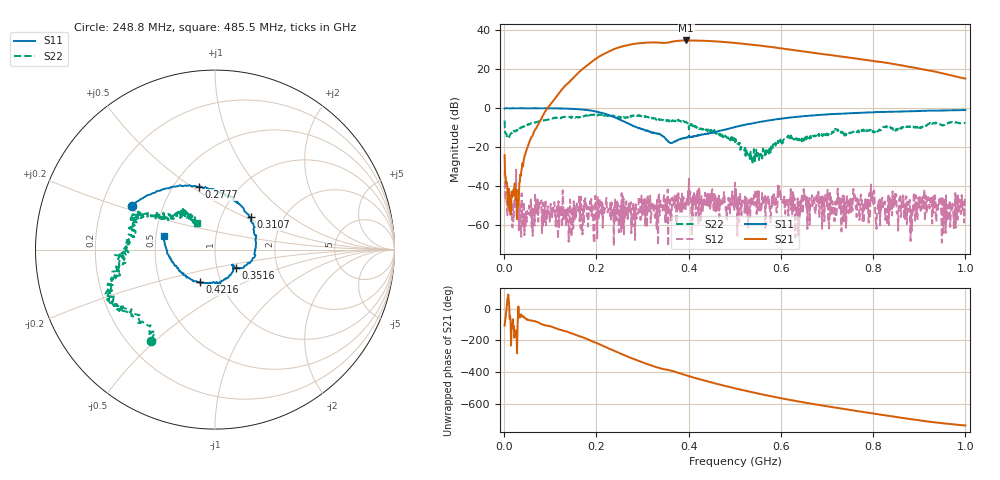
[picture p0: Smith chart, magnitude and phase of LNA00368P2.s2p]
! Created with skrf 1.9.0 (http://scikit-rf.org).
# Hz S RI R 50.0
!freq ReS11 ImS11 ReS21 ImS21 ReS12 ImS12 ReS22 ImS22
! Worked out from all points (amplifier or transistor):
!   1001 points, 1 MHz to 1 GHz, reference 50 ohm
!   highest |S21| = 34.8 dB at 394.6 MHz (marker M1)
!   |S21| within 3 dB of that: 256.9 MHz to 566.1 MHz (309.2 MHz wide, 75.1 % of centre)
!   unconditionally stable (mu >= 1): 26.57 MHz to 72.29 MHz; 230.8 MHz to 400.3 MHz; 400.9 MHz to end of sweep (the widest 3 of 33)
!   at 166.8 MHz: K = 0.27, MSG = 32.4 dB, |S12| = -45.4 dB
!   at 500.5 MHz: K = 1.05, MAG = 34.5 dB, |S12| = -38.1 dB
!   at 1 GHz: K = 2.46, MAG = 24.0 dB, |S12| = -46.3 dB
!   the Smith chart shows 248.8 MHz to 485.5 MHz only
!   S11 on the Smith chart (normalised r, x): 248.8 MHz: 0.33, +0.22; 277.7 MHz: 0.66, +0.53; 310.7 MHz: 1.38, +0.54; 351.6 MHz: 1.24, -0.25; 421.6 MHz: 0.80, -0.30; 485.5 MHz: 0.55, +0.09
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1000000  0.9855 0.00248  -0.017 -0.0602  -0.0244 -0.00395  0.3211 0.3607
1.08892e8  0.5096 -0.8551  -0.815 -1.479  -0.00295 -0.0026  0.4096 -0.3774
1.67833e8  -0.257 -0.8931  -9.695 -0.444  0.000597 -0.000383  0.0324 -0.6249
2.11789e8  -0.6961 -0.3176  -14.72 17.89  -0.000375 0.00165  -0.2164 -0.6395
2.29771e8  -0.6523 -0.00852  -8.231 28.5  -0.00154 0.000749  -0.2776 -0.5767
2.48752e8  -0.4628 0.2448  5.238 35.88  -0.0003 -0.000583  -0.3539 -0.5078
2.77723e8  -0.0897 0.3498  30.25 32.09  -0.000546 -0.00083  -0.5481 -0.3029
3.1069e8  0.2003 0.1822  47.32 8.66  -0.00238 0.00559  -0.5753 -0.1557
3.34666e8  0.2247 -0.0294  47.15 -10.83  -0.00602 0.00283  -0.5254 -0.0102
3.51649e8  0.1174 -0.1003  43.35 -19.79  0.00062 -0.00105  -0.4905 0.0541
3.71629e8  0.1036 -0.0991  41.04 -33.21  -0.000684 0.00272  -0.4348 0.1523
3.94606e8  0.0491 -0.168  27.12 -47.6  -0.00206 0.00165  -0.4125 0.1751
4.21579e8  -0.0843 -0.1794  6.371 -53.59  0.00103 0.000357  -0.2599 0.1981
4.5055e8  -0.2143 -0.0953  -14.69 -50.71  0.00744 0.00242  -0.1713 0.2219
4.85515e8  -0.2851 0.0762  -32.72 -36.56  0.000938 0.00236  -0.0986 0.1501
5.005e8  -0.2837 0.1712  -37.74 -28.75  0.0111 -0.00549  -0.1079 0.081
5.39461e8  -0.199 0.3608  -41.45 -8.27  -0.00232 -0.0041  -0.0534 0.00289
5.84416e8  0.0101 0.5118  -35.18 10.16  0.00508 -0.00368  -0.1024 -0.0518
6.67333e8  0.4164 0.5026  -12.97 23.23  0.0047 -0.0036  -0.1784 -0.0539
7.53247e8  0.6972 0.2747  3.684 19.13  -0.00226 -0.0041  -0.2375 -0.012
8.34166e8  0.81 0.000996  10.45 9.751  0.000255 -0.000979  -0.3286 -0.0294
1e9  0.7234 -0.5353  5.501 -1.739  -0.00434 0.00213  -0.3608 0.2241
